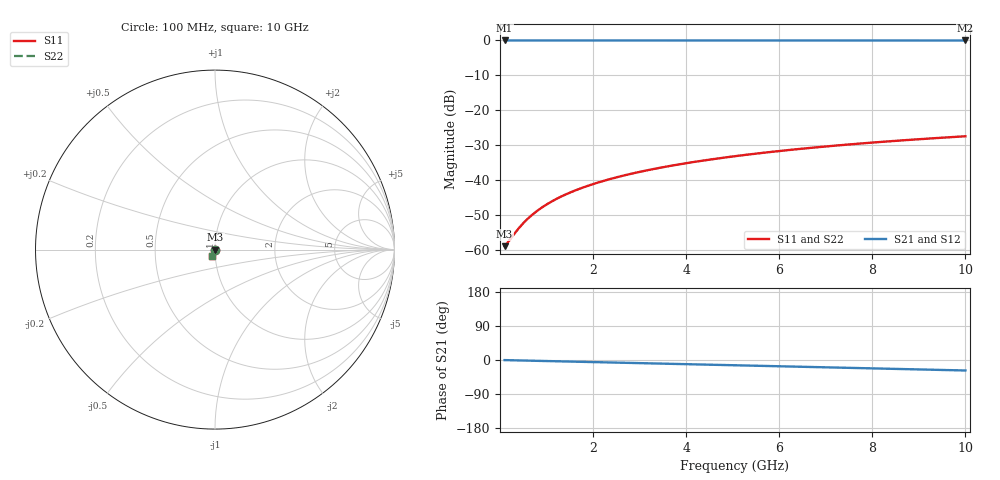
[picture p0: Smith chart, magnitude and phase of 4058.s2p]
# Hz S RI R 50.00
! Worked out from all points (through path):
!   100 points, 100 MHz to 10 GHz, reference 50 ohm
!   highest |S21| = -0.01 dB at 100 MHz (marker M1); lowest = 0.0 dB at 10 GHz (marker M2)
!   group delay of S21, straight-line fit = 7.69 ps
!   lowest |S11| = -58.9 dB at 100 MHz (marker M3), VSWR 1.00, Z = 50.1 - j0.0441 ohm
!   |S11| at or under -10 dB: start of sweep to end of sweep
!   |S22| runs from -58.9 to -27.4 dB; largest |S21 - S12| = 0
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1e8  0.00105 -0.00044  0.9989 -0.00478  0.9989 -0.00478  0.00105 -0.00044
2e8  0.00105 -0.00088  0.9989 -0.00956  0.9989 -0.00956  0.00105 -0.00088
4e8  0.00103 -0.00176  0.9987 -0.0191  0.9987 -0.0191  0.00103 -0.00176
5e8  0.00101 -0.0022  0.9986 -0.0239  0.9986 -0.0239  0.00101 -0.0022
6e8  0.000985 -0.00264  0.9985 -0.0287  0.9985 -0.0287  0.000985 -0.00264
7e8  0.000959 -0.00308  0.9983 -0.0335  0.9983 -0.0335  0.000959 -0.00308
8e8  0.000927 -0.00352  0.9982 -0.0383  0.9982 -0.0383  0.000927 -0.00352
1e9  0.000852 -0.0044  0.9977 -0.0478  0.9977 -0.0478  0.000852 -0.0044
1.2e9  0.000759 -0.00528  0.9972 -0.0574  0.9972 -0.0574  0.000759 -0.00528
1.5e9  0.000587 -0.0066  0.9963 -0.0717  0.9963 -0.0717  0.000587 -0.0066
1.8e9  0.000377 -0.00791  0.9951 -0.086  0.9951 -0.086  0.000377 -0.00791
2.1e9  0.000129 -0.00922  0.9937 -0.1003  0.9937 -0.1003  0.000129 -0.00922
2.5e9  -0.000261 -0.011  0.9916 -0.1194  0.9916 -0.1194  -0.000261 -0.011
2.9e9  -0.000718 -0.0127  0.9891 -0.1384  0.9891 -0.1384  -0.000718 -0.0127
3.4e9  -0.00138 -0.0148  0.9854 -0.1622  0.9854 -0.1622  -0.00138 -0.0148
4.2e9  -0.00266 -0.0182  0.9784 -0.2  0.9784 -0.2  -0.00266 -0.0182
5.1e9  -0.00441 -0.0218  0.9686 -0.2422  0.9686 -0.2422  -0.00441 -0.0218
5.9e9  -0.00622 -0.0249  0.9584 -0.2795  0.9584 -0.2795  -0.00622 -0.0249
6.7e9  -0.00827 -0.0279  0.9468 -0.3164  0.9468 -0.3164  -0.00827 -0.0279
7.5e9  -0.0105 -0.0307  0.9337 -0.3528  0.9337 -0.3528  -0.0105 -0.0307
8.4e9  -0.0133 -0.0336  0.9172 -0.3933  0.9172 -0.3933  -0.0133 -0.0336
1e10  -0.0189 -0.038  0.8834 -0.4634  0.8834 -0.4634  -0.0189 -0.038
